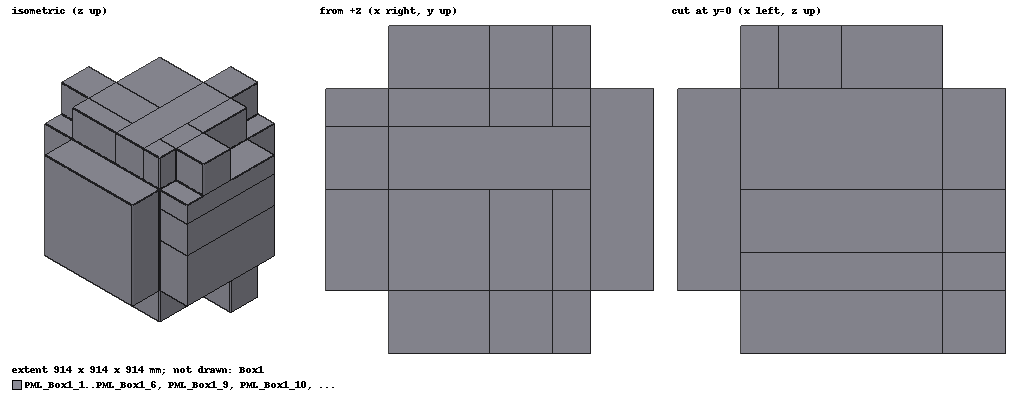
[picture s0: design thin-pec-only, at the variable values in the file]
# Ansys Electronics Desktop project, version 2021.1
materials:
  vacuum: permittivity=1
  PMLGroup1_Z_1: permittivity{anisotropic component1=2.0746683 component2=2.0746683 component3=0.24100238} permeability{anisotropic component1=2.0746683 component2=2.0746683 component3=0.24100238} dielectric_loss_tangent{anisotropic component1=1 component2=1 component3=-1} magnetic_loss_tangent{anisotropic component1=1 component2=1 component3=-1}
  PMLGroup1_XZ_1: permittivity{anisotropic component1=1 component2=0.01 component3=1} permeability{anisotropic component1=1 component2=0.01 component3=1} dielectric_loss_tangent{anisotropic component1=0 component2=860.8497 component3=0} magnetic_loss_tangent{anisotropic component1=0 component2=860.8497 component3=0}
  PMLGroup1_YZ_1: permittivity{anisotropic component1=0.01 component2=1 component3=1} permeability{anisotropic component1=0.01 component2=1 component3=1} dielectric_loss_tangent{anisotropic component1=860.8497 component2=0 component3=0} magnetic_loss_tangent{anisotropic component1=860.8497 component2=0 component3=0}
  PMLGroup1_XYZ_1: permittivity{anisotropic component1=2.0746683 component2=2.0746683 component3=2.0746683} permeability{anisotropic component1=2.0746683 component2=2.0746683 component3=2.0746683} dielectric_loss_tangent{anisotropic component1=1 component2=1 component3=1} magnetic_loss_tangent{anisotropic component1=1 component2=1 component3=1}
  PMLGroup2_Z_1: permittivity{anisotropic component1=1.5442133 component2=1.5442133 component3=0.32378946} permeability{anisotropic component1=1.5442133 component2=1.5442133 component3=0.32378946} dielectric_loss_tangent{anisotropic component1=1 component2=1 component3=-1} magnetic_loss_tangent{anisotropic component1=1 component2=1 component3=-1}
  PMLGroup2_XZ_1: permittivity{anisotropic component1=1 component2=0.01 component3=1} permeability{anisotropic component1=1 component2=0.01 component3=1} dielectric_loss_tangent{anisotropic component1=0 component2=476.91896 component3=0} magnetic_loss_tangent{anisotropic component1=0 component2=476.91896 component3=0}
  PMLGroup2_YZ_1: permittivity{anisotropic component1=0.01 component2=1 component3=1} permeability{anisotropic component1=0.01 component2=1 component3=1} dielectric_loss_tangent{anisotropic component1=476.91896 component2=0 component3=0} magnetic_loss_tangent{anisotropic component1=476.91896 component2=0 component3=0}
  PMLGroup2_XYZ_1: permittivity{anisotropic component1=1.5442133 component2=1.5442133 component3=1.5442133} permeability{anisotropic component1=1.5442133 component2=1.5442133 component3=1.5442133} dielectric_loss_tangent{anisotropic component1=1 component2=1 component3=1} magnetic_loss_tangent{anisotropic component1=1 component2=1 component3=1}
  PMLGroup3_Z_1: permittivity{anisotropic component1=1.3362869 component2=1.3362869 component3=0.37417114} permeability{anisotropic component1=1.3362869 component2=1.3362869 component3=0.37417114} dielectric_loss_tangent{anisotropic component1=1 component2=1 component3=-1} magnetic_loss_tangent{anisotropic component1=1 component2=1 component3=-1}
  PMLGroup3_XZ_1: permittivity{anisotropic component1=1 component2=0.01 component3=1} permeability{anisotropic component1=1 component2=0.01 component3=1} dielectric_loss_tangent{anisotropic component1=0 component2=357.13255 component3=0} magnetic_loss_tangent{anisotropic component1=0 component2=357.13255 component3=0}
  PMLGroup3_YZ_1: permittivity{anisotropic component1=0.01 component2=1 component3=1} permeability{anisotropic component1=0.01 component2=1 component3=1} dielectric_loss_tangent{anisotropic component1=357.13255 component2=0 component3=0} magnetic_loss_tangent{anisotropic component1=357.13255 component2=0 component3=0}
  PMLGroup3_XYZ_1: permittivity{anisotropic component1=1.3362869 component2=1.3362869 component3=1.3362869} permeability{anisotropic component1=1.3362869 component2=1.3362869 component3=1.3362869} dielectric_loss_tangent{anisotropic component1=1 component2=1 component3=1} magnetic_loss_tangent{anisotropic component1=1 component2=1 component3=1}

design thin-pec-only (HFSS, DrivenModal, model units mm)
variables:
  a = 75mm
  b = 150mm
  h = 3mm
  w = 2.5mm
  ePhi = 1
  mrd = 131mm
  pml_t = 171mm
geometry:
  gnd = rectangle(corner=(0, -b/2, -a/2), y_size=b, z_size=a)
  Box1 [vacuum] = box(corner=(-b-mrd, -b-mrd, -b-mrd), size=(2*(mrd+b), 2*(mrd+b), 2*(mrd+b)))
  coordinate_system FaceCS1 = face of Box1: Origin=Box1.vertex(1 of 8) FaceID=Box1.face(+z) AxisPosn=Box1.vertex(2 of 8) WhichAxis=X ZRotationAngle=0deg XOffset=0mm YOffset=0mm
  PML_Box1_1 [PMLGroup3_Z_1, oriented by FaceCS1] = sweep_along_normal(Box1.face(+z), length=176mm)
  coordinate_system FaceCS2 = face of Box1: Origin=Box1.vertex(5 of 8) FaceID=Box1.face(-z) AxisPosn=Box1.vertex(6 of 8) WhichAxis=X ZRotationAngle=0deg XOffset=0mm YOffset=0mm
  PML_Box1_2 [PMLGroup3_Z_1, oriented by FaceCS2] = sweep_along_normal(Box1.face(-z), length=176mm)
  coordinate_system FaceCS3 = face of Box1: Origin=Box1.vertex(4 of 8) FaceID=Box1.face(-y) AxisPosn=Box1.vertex(7 of 8) WhichAxis=X ZRotationAngle=0deg XOffset=0mm YOffset=0mm
  PML_Box1_3 [PMLGroup3_Z_1, oriented by FaceCS3] = sweep_along_normal(Box1.face(-y), length=176mm)
  coordinate_system FaceCS4 = face of Box1: Origin=Box1.vertex(3 of 8) FaceID=Box1.face(-x) AxisPosn=Box1.vertex(8 of 8) WhichAxis=X ZRotationAngle=0deg XOffset=0mm YOffset=0mm
  PML_Box1_4 [PMLGroup3_Z_1, oriented by FaceCS4] = sweep_along_normal(Box1.face(-x), length=176mm)
  coordinate_system FaceCS5 = face of Box1: Origin=Box1.vertex(2 of 8) FaceID=Box1.face(+y) AxisPosn=Box1.vertex(5 of 8) WhichAxis=X ZRotationAngle=0deg XOffset=0mm YOffset=0mm
  PML_Box1_5 [PMLGroup3_Z_1, oriented by FaceCS5] = sweep_along_normal(Box1.face(+y), length=176mm)
  coordinate_system FaceCS6 = face of Box1: Origin=Box1.vertex(1 of 8) FaceID=Box1.face(+x) AxisPosn=Box1.vertex(6 of 8) WhichAxis=X ZRotationAngle=0deg XOffset=0mm YOffset=0mm
  PML_Box1_6 [PMLGroup3_Z_1, oriented by FaceCS6] = sweep_along_normal(Box1.face(+x), length=176mm)
  PML_Box1_7 [PMLGroup3_XZ_1, oriented by FaceCS3] = sweep_along_normal(PML_Box1_1.face(at (0, -281, 369)), length=176mm)
  PML_Box1_8 [PMLGroup3_XZ_1, oriented by FaceCS4] = sweep_along_normal(PML_Box1_1.face(at (-281, 0, 369)), length=176mm)
  PML_Box1_9 [PMLGroup3_XZ_1, oriented by FaceCS5] = sweep_along_normal(PML_Box1_1.face(at (0, 281, 369)), length=176mm)
  PML_Box1_10 [PMLGroup3_YZ_1, oriented by FaceCS1] = sweep_along_normal(PML_Box1_1.face(at (281, 0, 369)), length=176mm)
  coordinate_system FaceCS7 = face of Box1: Origin=Box1.vertex(6 of 8) FaceID=Box1.face(-z) AxisPosn=Box1.vertex(7 of 8) WhichAxis=X ZRotationAngle=0deg XOffset=0mm YOffset=0mm
  PML_Box1_11 [PMLGroup3_YZ_1, oriented by FaceCS7] = sweep_along_normal(PML_Box1_2.face(at (0, -281, -369)), length=176mm)
  coordinate_system FaceCS8 = face of Box1: Origin=Box1.vertex(7 of 8) FaceID=Box1.face(-z) AxisPosn=Box1.vertex(8 of 8) WhichAxis=X ZRotationAngle=0deg XOffset=0mm YOffset=0mm
  PML_Box1_12 [PMLGroup3_YZ_1, oriented by FaceCS8] = sweep_along_normal(PML_Box1_2.face(at (-281, 0, -369)), length=176mm)
  PML_Box1_13 [PMLGroup3_XZ_1, oriented by FaceCS2] = sweep_along_normal(PML_Box1_2.face(at (0, 281, -369)), length=176mm)
  PML_Box1_14 [PMLGroup3_YZ_1, oriented by FaceCS2] = sweep_along_normal(PML_Box1_2.face(at (281, 0, -369)), length=176mm)
  PML_Box1_15 [PMLGroup3_YZ_1, oriented by FaceCS3] = sweep_along_normal(PML_Box1_3.face(at (-281, -369, 0)), length=176mm)
  PML_Box1_16 [PMLGroup3_YZ_1, oriented by FaceCS6] = sweep_along_normal(PML_Box1_3.face(at (281, -369, 0)), length=176mm)
  PML_Box1_17 [PMLGroup3_YZ_1, oriented by FaceCS4] = sweep_along_normal(PML_Box1_4.face(at (-369, 281, 0)), length=176mm)
  PML_Box1_18 [PMLGroup3_YZ_1, oriented by FaceCS5] = sweep_along_normal(PML_Box1_5.face(at (281, 369, 0)), length=176mm)
  PML_Box1_19 [PMLGroup3_XYZ_1, oriented by FaceCS3] = sweep_along_normal(PML_Box1_7.face(at (-281, -369, 369)), length=176mm)
  PML_Box1_20 [PMLGroup3_XYZ_1, oriented by FaceCS1] = sweep_along_normal(PML_Box1_7.face(at (281, -369, 369)), length=176mm)
  PML_Box1_21 [PMLGroup3_XYZ_1, oriented by FaceCS4] = sweep_along_normal(PML_Box1_8.face(at (-369, 281, 369)), length=176mm)
  PML_Box1_22 [PMLGroup3_XYZ_1, oriented by FaceCS5] = sweep_along_normal(PML_Box1_9.face(at (281, 369, 369)), length=176mm)
  PML_Box1_23 [PMLGroup3_XYZ_1, oriented by FaceCS8] = sweep_along_normal(PML_Box1_11.face(at (-281, -369, -369)), length=176mm)
  PML_Box1_24 [PMLGroup3_XYZ_1, oriented by FaceCS7] = sweep_along_normal(PML_Box1_11.face(at (281, -369, -369)), length=176mm)
  coordinate_system FaceCS9 = face of Box1: Origin=Box1.vertex(8 of 8) FaceID=Box1.face(-z) AxisPosn=Box1.vertex(5 of 8) WhichAxis=X ZRotationAngle=0deg XOffset=0mm YOffset=0mm
  PML_Box1_25 [PMLGroup3_XYZ_1, oriented by FaceCS9] = sweep_along_normal(PML_Box1_12.face(at (-369, 281, -369)), length=176mm)
  PML_Box1_26 [PMLGroup3_XYZ_1, oriented by FaceCS2] = sweep_along_normal(PML_Box1_13.face(at (281, 369, -369)), length=176mm)
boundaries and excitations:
  PerfE1: Perfect E Objects=gnd
  PML_radiation1: Radiation Faces=Box1.face(+z) IsForPML
  PML_radiation2: Radiation Faces=Box1.face(-z) IsForPML
  PML_radiation3: Radiation Faces=Box1.face(-y) IsForPML
  PML_radiation4: Radiation Faces=Box1.face(-x) IsForPML
  PML_radiation5: Radiation Faces=Box1.face(+y) IsForPML
  PML_radiation6: Radiation Faces=Box1.face(+x) IsForPML
  IncPWave1: Plane Incident Wave PhiStart=180deg PhiStop=180deg PhiPoints=1 ThetaStart=90deg ThetaStop=90deg ThetaPoints=1 EoPhi=1 EoTheta=0 OriginX=0mm OriginY=0mm OriginZ=0mm IsPropagating
  IncPWave2: Plane Incident Wave PhiStart=360deg PhiStop=360deg PhiPoints=1 ThetaStart=90deg ThetaStop=90deg ThetaPoints=1 EoPhi=1 EoTheta=0 OriginX=0mm OriginY=0mm OriginZ=0mm IsPropagating
  IncPWave3: Plane Incident Wave PhiStart=270deg PhiStop=270deg PhiPoints=1 ThetaStart=90deg ThetaStop=90deg ThetaPoints=1 EoPhi=1 EoTheta=0 OriginX=0mm OriginY=0mm OriginZ=0mm IsPropagating
  IncPWave4: Plane Incident Wave PhiStart=90deg PhiStop=90deg PhiPoints=1 ThetaStart=90deg ThetaStop=90deg ThetaPoints=1 EoPhi=1 EoTheta=0 OriginX=0mm OriginY=0mm OriginZ=0mm IsPropagating
  IncPWave5: Plane Incident Wave PhiStart=180deg PhiStop=180deg PhiPoints=1 ThetaStart=180deg ThetaStop=180deg ThetaPoints=1 EoPhi=1 EoTheta=0 OriginX=0mm OriginY=0mm OriginZ=0mm IsPropagating
  IncPWave6: Plane Incident Wave PhiStart=180deg PhiStop=180deg PhiPoints=1 ThetaStart=0deg ThetaStop=0deg ThetaPoints=1 EoPhi=1 EoTheta=0 OriginX=0mm OriginY=0mm OriginZ=0mm IsPropagating
  IncPWave7: Plane Incident Wave PhiStart=225deg PhiStop=225deg PhiPoints=1 ThetaStart=125.264deg ThetaStop=125.264deg ThetaPoints=1 EoPhi=1 EoTheta=0 OriginX=0mm OriginY=0mm OriginZ=0mm IsPropagating
  IncPWave8: Plane Incident Wave PhiStart=315deg PhiStop=315deg PhiPoints=1 ThetaStart=125.264deg ThetaStop=125.264deg ThetaPoints=1 EoPhi=1 EoTheta=0 OriginX=0mm OriginY=0mm OriginZ=0mm IsPropagating
  IncPWave9: Plane Incident Wave PhiStart=135deg PhiStop=135deg PhiPoints=1 ThetaStart=125.264deg ThetaStop=125.264deg ThetaPoints=1 EoPhi=1 EoTheta=0 OriginX=0mm OriginY=0mm OriginZ=0mm IsPropagating
  IncPWave10: Plane Incident Wave PhiStart=225deg PhiStop=225deg PhiPoints=1 ThetaStart=54.736deg ThetaStop=54.736deg ThetaPoints=1 EoPhi=1 EoTheta=0 OriginX=0mm OriginY=0mm OriginZ=0mm IsPropagating
  IncPWave11: Plane Incident Wave PhiStart=45deg PhiStop=45deg PhiPoints=1 ThetaStart=125.264deg ThetaStop=125.264deg ThetaPoints=1 EoPhi=1 EoTheta=0 OriginX=0mm OriginY=0mm OriginZ=0mm IsPropagating
  IncPWave12: Plane Incident Wave PhiStart=135deg PhiStop=135deg PhiPoints=1 ThetaStart=54.736deg ThetaStop=54.736deg ThetaPoints=1 EoPhi=1 EoTheta=0 OriginX=0mm OriginY=0mm OriginZ=0mm IsPropagating
  IncPWave13: Plane Incident Wave PhiStart=315deg PhiStop=315deg PhiPoints=1 ThetaStart=54.736deg ThetaStop=54.736deg ThetaPoints=1 EoPhi=1 EoTheta=0 OriginX=0mm OriginY=0mm OriginZ=0mm IsPropagating
  IncPWave14: Plane Incident Wave PhiStart=45deg PhiStop=45deg PhiPoints=1 ThetaStart=54.736deg ThetaStop=54.736deg ThetaPoints=1 EoPhi=1 EoTheta=0 OriginX=0mm OriginY=0mm OriginZ=0mm IsPropagating
  IncPWave15: Plane Incident Wave PhiStart=180deg PhiStop=180deg PhiPoints=1 ThetaStart=90deg ThetaStop=90deg ThetaPoints=1 EoPhi=0 EoTheta=1 OriginX=0mm OriginY=0mm OriginZ=0mm IsPropagating
  IncPWave16: Plane Incident Wave PhiStart=360deg PhiStop=360deg PhiPoints=1 ThetaStart=90deg ThetaStop=90deg ThetaPoints=1 EoPhi=0 EoTheta=1 OriginX=0mm OriginY=0mm OriginZ=0mm IsPropagating
  IncPWave17: Plane Incident Wave PhiStart=270deg PhiStop=270deg PhiPoints=1 ThetaStart=90deg ThetaStop=90deg ThetaPoints=1 EoPhi=0 EoTheta=1 OriginX=0mm OriginY=0mm OriginZ=0mm IsPropagating
  IncPWave18: Plane Incident Wave PhiStart=90deg PhiStop=90deg PhiPoints=1 ThetaStart=90deg ThetaStop=90deg ThetaPoints=1 EoPhi=0 EoTheta=1 OriginX=0mm OriginY=0mm OriginZ=0mm IsPropagating
  IncPWave19: Plane Incident Wave PhiStart=180deg PhiStop=180deg PhiPoints=1 ThetaStart=180deg ThetaStop=180deg ThetaPoints=1 EoPhi=0 EoTheta=1 OriginX=0mm OriginY=0mm OriginZ=0mm IsPropagating
  IncPWave20: Plane Incident Wave PhiStart=180deg PhiStop=180deg PhiPoints=1 ThetaStart=0deg ThetaStop=0deg ThetaPoints=1 EoPhi=0 EoTheta=1 OriginX=0mm OriginY=0mm OriginZ=0mm IsPropagating
  IncPWave21: Plane Incident Wave PhiStart=225deg PhiStop=225deg PhiPoints=1 ThetaStart=125.264deg ThetaStop=125.264deg ThetaPoints=1 EoPhi=0 EoTheta=1 OriginX=0mm OriginY=0mm OriginZ=0mm IsPropagating
  IncPWave22: Plane Incident Wave PhiStart=315deg PhiStop=315deg PhiPoints=1 ThetaStart=125.264deg ThetaStop=125.264deg ThetaPoints=1 EoPhi=0 EoTheta=1 OriginX=0mm OriginY=0mm OriginZ=0mm IsPropagating
  IncPWave23: Plane Incident Wave PhiStart=135deg PhiStop=135deg PhiPoints=1 ThetaStart=125.264deg ThetaStop=125.264deg ThetaPoints=1 EoPhi=0 EoTheta=1 OriginX=0mm OriginY=0mm OriginZ=0mm IsPropagating
  IncPWave24: Plane Incident Wave PhiStart=225deg PhiStop=225deg PhiPoints=1 ThetaStart=54.736deg ThetaStop=54.736deg ThetaPoints=1 EoPhi=0 EoTheta=1 OriginX=0mm OriginY=0mm OriginZ=0mm IsPropagating
  IncPWave25: Plane Incident Wave PhiStart=45deg PhiStop=45deg PhiPoints=1 ThetaStart=125.264deg ThetaStop=125.264deg ThetaPoints=1 EoPhi=0 EoTheta=1 OriginX=0mm OriginY=0mm OriginZ=0mm IsPropagating
  IncPWave26: Plane Incident Wave PhiStart=135deg PhiStop=135deg PhiPoints=1 ThetaStart=54.736deg ThetaStop=54.736deg ThetaPoints=1 EoPhi=0 EoTheta=1 OriginX=0mm OriginY=0mm OriginZ=0mm IsPropagating
  IncPWave27: Plane Incident Wave PhiStart=315deg PhiStop=315deg PhiPoints=1 ThetaStart=54.736deg ThetaStop=54.736deg ThetaPoints=1 EoPhi=0 EoTheta=1 OriginX=0mm OriginY=0mm OriginZ=0mm IsPropagating
  IncPWave28: Plane Incident Wave PhiStart=45deg PhiStop=45deg PhiPoints=1 ThetaStart=54.736deg ThetaStop=54.736deg ThetaPoints=1 EoPhi=0 EoTheta=1 OriginX=0mm OriginY=0mm OriginZ=0mm IsPropagating
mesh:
  Length1: LengthBased Objects=gnd MaxLength=10mm
  Length2: LengthBased Objects=Box1 MaxLength=45mm
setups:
  Setup1: HfssDriven Frequency=0.8541GHz MaxDeltaE=0.01 MaximumPasses=1 MinimumPasses=1 MinimumConvergedPasses=1 PercentRefinement=30 BasisOrder=1
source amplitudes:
  IncPWave1:1: 3e-05V_per_meter -150.9456deg
  IncPWave2:1: 9e-05V_per_meter -20.0271deg
  IncPWave3:1: 4e-05V_per_meter 57.2306deg
  IncPWave4:1: 3e-05V_per_meter 144.2304deg
  IncPWave5:1: 0.00013V_per_meter 136.65deg
  IncPWave6:1: 0.00011V_per_meter -110.5738deg
  IncPWave7:1: 0.01075V_per_meter 0.05018deg
  IncPWave8:1: 0.01075V_per_meter 179.6587deg
  IncPWave9:1: 0.01084V_per_meter 179.7952deg
  IncPWave10:1: 0.01085V_per_meter 179.8135deg
  IncPWave11:1: 0.01087V_per_meter -0.36664deg
  IncPWave12:1: 0.01077V_per_meter -0.63856deg
  IncPWave13:1: 0.01081V_per_meter 0.14251deg
  IncPWave14:1: 0.01073V_per_meter 179.5017deg
  IncPWave15:1: 0.3863V_per_meter 0deg
  IncPWave16:1: 0.38613V_per_meter 0.02364deg
  IncPWave17:1: 0.22564V_per_meter 0.00162deg
  IncPWave18:1: 0.22554V_per_meter -0.01908deg
  IncPWave19:1: 6e-05V_per_meter 10.6694deg
  IncPWave20:1: 6e-05V_per_meter 29.1992deg
  IncPWave21:1: 0.27358V_per_meter -0.08deg
  IncPWave22:1: 0.27357V_per_meter -0.0728deg
  IncPWave23:1: 0.27362V_per_meter -0.08324deg
  IncPWave24:1: 0.27366V_per_meter -0.08886deg
  IncPWave25:1: 0.27357V_per_meter -0.09664deg
  IncPWave26:1: 0.27374V_per_meter -0.11469deg
  IncPWave27:1: 0.27356V_per_meter -0.07695deg
  IncPWave28:1: 0.27369V_per_meter -0.10355deg
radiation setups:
  Infinite Sphere1: Infinite Sphere Theta=125.264deg..125.264deg step 0deg Phi=-135deg..-135deg step 0deg
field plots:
  Mesh1: MeshPlots over gnd.face on Setup1 : LastAdaptive at Freq=0.8541GHz Phase=0deg
  Vector_Jsurf1, Mag_Jsurf1: Jsurf over gnd.face on Setup1 : LastAdaptive at Freq=0.8541GHz Phase=0deg
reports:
  rE Table 1: re(rEPhi), im(rEPhi), re(rETheta), im(rETheta) vs Theta on Setup1 : LastAdaptive, Infinite Sphere1 [Phi=all Freq=1.1388GHz IWavePhi=180deg IWaveTheta=90deg]
